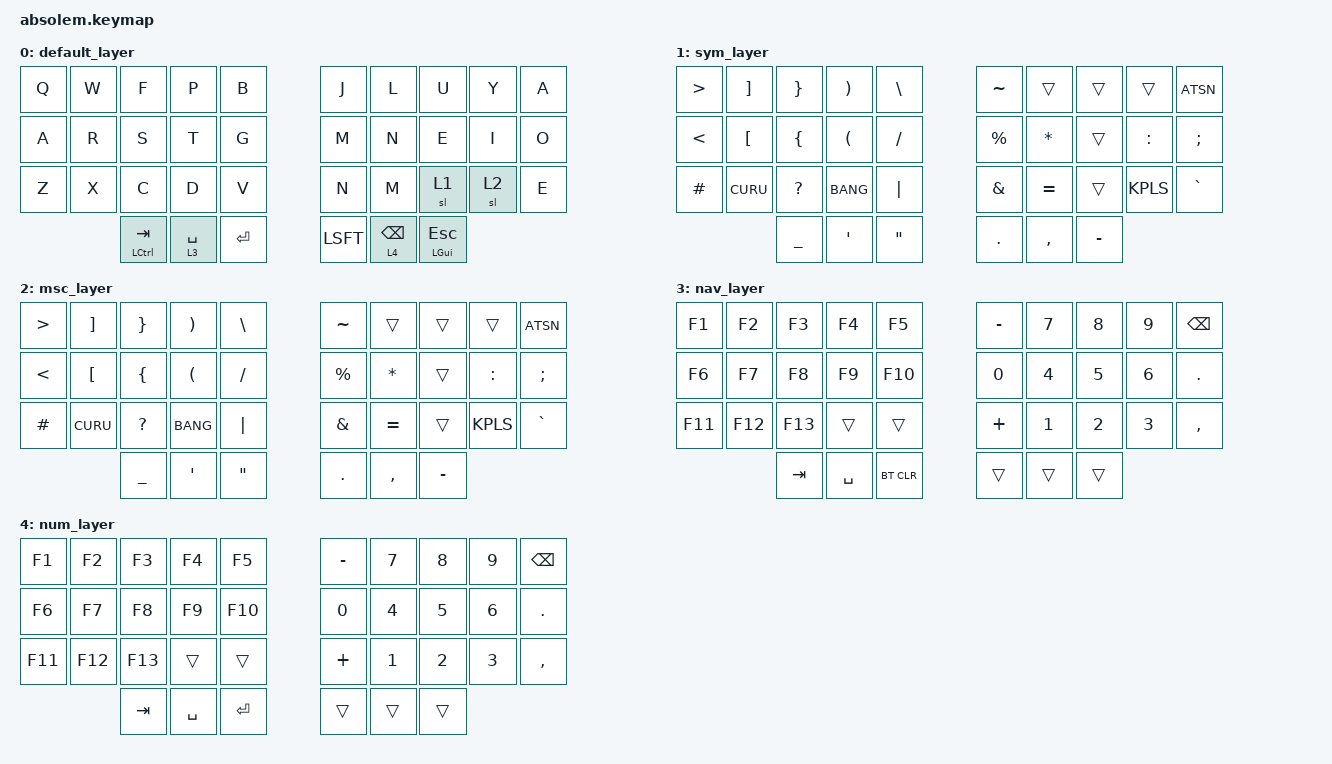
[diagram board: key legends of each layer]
/*
 * Copyright (c) 2020 The ZMK Contributors
 *
 * SPDX-License-Identifier: MIT
 */

#include <behaviors.dtsi>
#include <dt-bindings/zmk/keys.h>
#include <dt-bindings/zmk/bt.h>


/ {
        keymap {
                compatible = "zmk,keymap";

                default_layer {

                        bindings = <
   &kp Q &kp W &kp F &kp P &kp B   			&kp J &kp L  &kp U    &kp Y  &kp A  
   &kp A &kp R &kp S &kp T &kp G   			&kp M &kp N  &kp E    &kp I  &kp O
   &kp Z &kp X &kp C &kp D &kp V   			&kp N &kp M  &sl 1    &sl 2 &kp E 
   &mt LCTL TAB &lt 3 SPACE  &kp RET 			&kp LSFT &lt 4 BKSP   &mt LGUI ESC
                        >;
                };



                sym_layer {

                        bindings = <
            &kp GT    &kp RBKT &kp RBRC  &kp RPRN  &kp BSLH  	&kp TILDE &trans &trans &trans &kp ATSN 
            &kp LT    &kp LBKT &kp LBRC  &kp LPRN  &kp FSLH     &kp PRCNT &kp ASTRK &trans &kp COLN  &kp SCLN 
            &kp HASH  &kp CURU &kp QMARK &kp BANG  &kp PIPE 	&kp AMPS  &kp EQL &trans &kp KPLS &kp GRAVE
            &kp UNDER &kp QUOT &kp DQT				&kp DOT  &kp CMMA &kp MINUS
              

                        >;
                };


         
  		msc_layer {

                        bindings = <
     &kp GT    &kp RBKT &kp RBRC  &kp RPRN  &kp BSLH  	&kp TILDE &trans &trans &trans &kp ATSN 
            &kp LT    &kp LBKT &kp LBRC  &kp LPRN  &kp FSLH     &kp PRCNT &kp ASTRK &trans &kp COLN  &kp SCLN 
            &kp HASH  &kp CURU &kp QMARK &kp BANG  &kp PIPE 	&kp AMPS  &kp EQL &trans &kp KPLS &kp GRAVE
            &kp UNDER &kp QUOT &kp DQT				&kp DOT  &kp CMMA &kp MINUS
                        >;
                };



                nav_layer {

                        bindings = <
   &kp F1    &kp F2    &kp F3    &kp F4    &kp F5  		&kp MINUS &kp NUM_7 &kp NUM_8 &kp NUM_9 &kp BKSP
   &kp F6    &kp F7    &kp F8    &kp F9    &kp F10   		&kp NUM_0 &kp NUM_4 &kp NUM_5 &kp NUM_6 &kp DOT
   &kp F11   &kp F12   &kp F13	 &trans    &trans 		&kp PLUS  &kp NUM_1 &kp NUM_2 &kp NUM_3 &kp CMMA
   &kp TAB &kp SPACE &bt BT_CLR					&trans 	&trans &trans
                        >;
                };



//NUM
                num_layer {

                        bindings = <
  
   &kp F1    &kp F2    &kp F3    &kp F4    &kp F5  		&kp MINUS &kp NUM_7 &kp NUM_8 &kp NUM_9 &kp BKSP
   &kp F6    &kp F7    &kp F8    &kp F9    &kp F10   		&kp NUM_0 &kp NUM_4 &kp NUM_5 &kp NUM_6 &kp DOT
   &kp F11   &kp F12   &kp F13	 &trans    &trans 		&kp PLUS  &kp NUM_1 &kp NUM_2 &kp NUM_3 &kp CMMA
   &kp TAB &kp SPACE &kp RET 					&trans 	&trans &trans

                        >;
                };

  




          
        };
};
